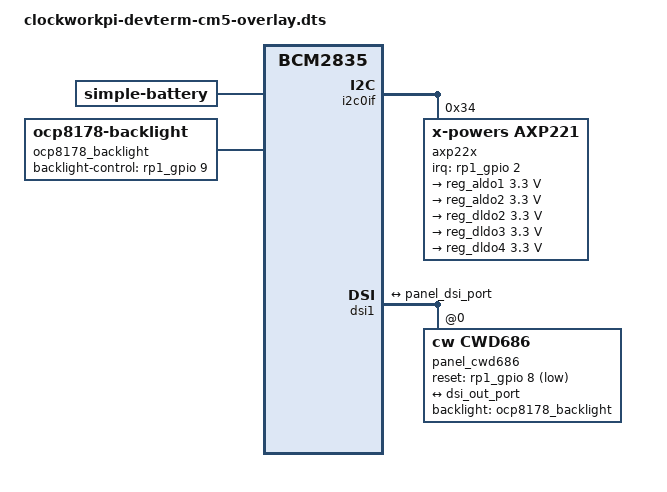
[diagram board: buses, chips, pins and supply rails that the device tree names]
/dts-v1/;
/plugin/;

/ {
	compatible = "brcm,bcm2835";
	fragment@0 {
		target = <&i2c0if>;
		__overlay__ {
			#address-cells = <1>;
			#size-cells = <0>;
			pinctrl-0 = <&i2c0_pins>;
			pinctrl-names = "default";
			status = "okay";
			axp22x: pmic@34 {
				interrupt-controller;
				#interrupt-cells = <1>;
				compatible = "x-powers,axp221";
				reg = <0x34>;
				interrupt-parent = <&rp1_gpio>;
				interrupts = <2 8>; /* Adjusted IRQ for RP1 */
				irq-gpios = <&rp1_gpio 2 0>;
				regulators {
					x-powers,dcdc-freq = <3000>;
					reg_aldo1: aldo1 {
						regulator-always-on;
						regulator-min-microvolt = <3300000>;
						regulator-max-microvolt = <3300000>;
						regulator-name = "audio-vdd";
					};
					reg_aldo2: aldo2 {
						regulator-always-on;
						regulator-min-microvolt = <3300000>;
						regulator-max-microvolt = <3300000>;
						regulator-name = "display-vcc";
					};
					reg_dldo2: dldo2 {
						regulator-always-on;
						regulator-min-microvolt = <3300000>;
						regulator-max-microvolt = <3300000>;
						regulator-name = "dldo2";
					};
					reg_dldo3: dldo3 {
						regulator-always-on;
						regulator-min-microvolt = <3300000>;
						regulator-max-microvolt = <3300000>;
						regulator-name = "dldo3";
					};
					reg_dldo4: dldo4 {
						regulator-always-on;
						regulator-min-microvolt = <3300000>;
						regulator-max-microvolt = <3300000>;
						regulator-name = "dldo4";
					};
				};
				battery_power_supply: battery-power-supply {
					compatible = "x-powers,axp221-battery-power-supply";
					monitored-battery = <&battery>;
				};

				ac_power_supply: ac_power_supply {
					compatible = "x-powers,axp221-ac-power-supply";
				};
			};
		};
	};
	fragment@1 {
		target-path = "/";
		__overlay__  {
			battery: battery@0 {
				compatible = "simple-battery";
				device-chemistry = "lithium-ion";
				constant-charge-current-max-microamp = <2100000>;
				voltage-max-design-microvolt = <4200000>;
				re-charge-voltage-microvolt = <4000000>;
				voltage-min-design-microvolt = <3300000>;
				energy-full-design-microwatt-hours = <24790000>;
				charge-full-design-microamp-hours = <6700000>;
			};
		};
	};
	fragment@2 {
		target-path = "/";
		__overlay__ {
			ocp8178_backlight: backlight@0 {
				compatible = "ocp8178-backlight";
				backlight-control-gpios = <&rp1_gpio 9 0>;
				default-brightness = <5>;
			};
		};
	};
	fragment@3 {
		target = <&dsi1>; // dsi1 has iommu property
		__overlay__ {
			#address-cells = <1>;
			#size-cells = <0>;
			status = "okay";
			port {
				dsi_out_port: endpoint {
					remote-endpoint = <&panel_dsi_port>;
				};
			};
			panel_cwd686: panel@0 {
				compatible = "cw,cwd686";
				reg = <0>;
				reset-gpio = <&rp1_gpio 8 1>;
				backlight = <&ocp8178_backlight>;
				rotation = <90>;
				port {
					panel_dsi_port: endpoint {
						remote-endpoint = <&dsi_out_port>;
					};
				};
			};
		};
	};
	fragment@4 {
		target-path = "ethernet0";
		__overlay__ {
			status = "disabled";
		};
	};
	fragment@5 {
		target = <&sdio1>;
		__overlay__ {
			sdhci,quirks2 = <0x400>; // SDHCI_QUIRK2_CLEAR_TRANSFERMODE_REG_BEFORE_CMD
		};
	};
	__overrides__ {
		cm5 = <0>,"-5";
		cm5l = <0>,"+5";
	};
};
